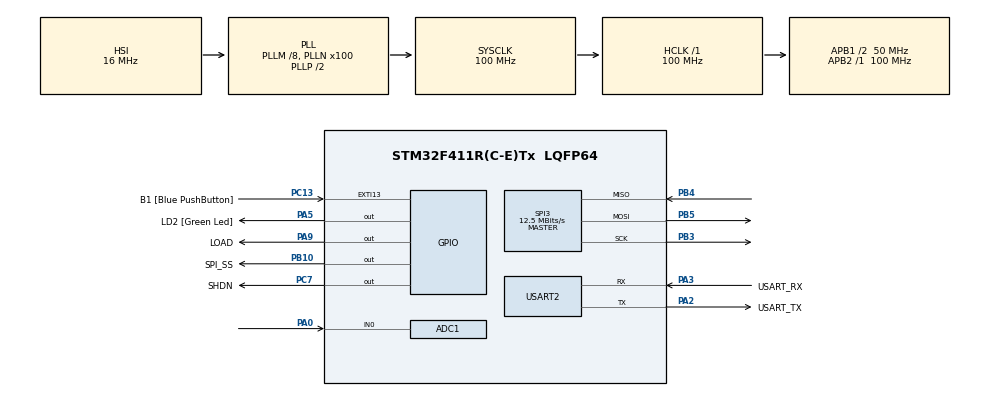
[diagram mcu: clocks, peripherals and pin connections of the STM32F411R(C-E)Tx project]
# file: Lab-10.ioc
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ADC1.Channel-0\#ChannelRegularConversion=ADC_CHANNEL_0
ADC1.DMAContinuousRequests=ENABLE
ADC1.EOCSelection=ADC_EOC_SEQ_CONV
ADC1.ExternalTrigConv=ADC_EXTERNALTRIGCONV_T3_TRGO
ADC1.NbrOfConversionFlag=1
ADC1.Rank-0\#ChannelRegularConversion=1
ADC1.SamplingTime-0\#ChannelRegularConversion=ADC_SAMPLETIME_3CYCLES
ADC1.ScanConvMode=ENABLE
ADC1.master=1
Dma.ADC1.0.Direction=DMA_PERIPH_TO_MEMORY
Dma.ADC1.0.FIFOMode=DMA_FIFOMODE_DISABLE
Dma.ADC1.0.Instance=DMA2_Stream0
Dma.ADC1.0.MemDataAlignment=DMA_MDATAALIGN_HALFWORD
Dma.ADC1.0.MemInc=DMA_MINC_ENABLE
Dma.ADC1.0.Mode=DMA_CIRCULAR
Dma.ADC1.0.PeriphDataAlignment=DMA_PDATAALIGN_HALFWORD
Dma.ADC1.0.PeriphInc=DMA_PINC_DISABLE
Dma.ADC1.0.Priority=DMA_PRIORITY_LOW
Dma.Request0=ADC1
Mcu.Family=STM32F4
Mcu.Name=STM32F411R(C-E)Tx
Mcu.Package=LQFP64
NVIC.ADC_IRQn=true\:0\:0\:false\:false\:true\:true\:true
NVIC.DMA2_Stream0_IRQn=true\:0\:0\:false\:false\:true\:false\:true
NVIC.PriorityGroup=NVIC_PRIORITYGROUP_0
NVIC.SPI3_IRQn=true\:0\:0\:false\:false\:true\:true\:true
NVIC.USART2_IRQn=true\:0\:0\:false\:false\:true\:true\:true
PA0-WKUP.Signal=ADCx_IN0
PA13.GPIO_Label=TMS
PA13.Mode=Serial_Wire
PA13.Signal=SYS_JTMS-SWDIO
PA14.GPIO_Label=TCK
PA14.Mode=Serial_Wire
PA14.Signal=SYS_JTCK-SWCLK
PA2.GPIO_Label=USART_TX
PA2.Mode=Asynchronous
PA2.Signal=USART2_TX
PA3.GPIO_Label=USART_RX
PA3.Mode=Asynchronous
PA3.Signal=USART2_RX
PA5.GPIO_Label=LD2 [Green Led]
PA5.Signal=GPIO_Output
PA9.GPIO_Label=LOAD
PA9.PinState=GPIO_PIN_SET
PA9.Signal=GPIO_Output
PB10.GPIO_Label=SPI_SS
PB10.PinState=GPIO_PIN_SET
PB10.Signal=GPIO_Output
PB3.Mode=Full_Duplex_Master
PB3.Signal=SPI3_SCK
PB4.Mode=Full_Duplex_Master
PB4.Signal=SPI3_MISO
PB5.Mode=Full_Duplex_Master
PB5.Signal=SPI3_MOSI
PC13-ANTI_TAMP.GPIO_Label=B1 [Blue PushButton]
PC13-ANTI_TAMP.GPIO_ModeDefaultEXTI=GPIO_MODE_IT_FALLING
PC13-ANTI_TAMP.Signal=GPXTI13
PC14-OSC32_IN.Mode=LSE-External-Oscillator
PC14-OSC32_IN.Signal=RCC_OSC32_IN
PC15-OSC32_OUT.Mode=LSE-External-Oscillator
PC15-OSC32_OUT.Signal=RCC_OSC32_OUT
PC7.GPIO_Label=SHDN
PC7.PinState=GPIO_PIN_SET
PC7.Signal=GPIO_Output
PH0\ -\ OSC_IN.Mode=HSE-External-Clock-Source
PH0\ -\ OSC_IN.Signal=RCC_OSC_IN
PH1\ -\ OSC_OUT.Mode=HSE-External-Clock-Source
PH1\ -\ OSC_OUT.Signal=RCC_OSC_OUT
ProjectManager.HeapSize=0x200
ProjectManager.StackSize=0x400
ProjectManager.TargetToolchain=STM32CubeIDE
RCC.48MHZClocksFreq_Value=50000000
RCC.AHBFreq_Value=100000000
RCC.APB1CLKDivider=RCC_HCLK_DIV2
RCC.APB1Freq_Value=50000000
RCC.APB1TimFreq_Value=100000000
RCC.APB2Freq_Value=100000000
RCC.APB2TimFreq_Value=100000000
RCC.CortexFreq_Value=100000000
RCC.FLatency-AdvancedSettings=FLASH_LATENCY_3
RCC.HCLKFreq_Value=100000000
RCC.HSE_VALUE=8000000
RCC.HSI_VALUE=16000000
RCC.PLLM=8
RCC.PLLN=100
RCC.SYSCLKFreq_VALUE=100000000
RCC.SYSCLKSource=RCC_SYSCLKSOURCE_PLLCLK
RCC.VCOOutputFreq_Value=200000000
SH.ADCx_IN0.0=ADC1_IN0,IN0
SPI3.BaudRatePrescaler=SPI_BAUDRATEPRESCALER_4
SPI3.CalculateBaudRate=12.5 MBits/s
SPI3.DataSize=SPI_DATASIZE_16BIT
SPI3.Direction=SPI_DIRECTION_2LINES
SPI3.Mode=SPI_MODE_MASTER
SPI3.VirtualType=VM_MASTER
TIM11.Prescaler=99
TIM3.Period=100
TIM3.Prescaler=99
TIM3.TIM_MasterOutputTrigger=TIM_TRGO_UPDATE
USART2.VirtualMode=VM_ASYNC
VP_TIM11_VS_ClockSourceINT.Mode=Enable_Timer
VP_TIM3_VS_ClockSourceINT.Mode=Internal
board=NUCLEO-F411RE

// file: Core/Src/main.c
/* USER CODE BEGIN Header */
/**
  ******************************************************************************
  * @file           : main.c
  * @brief          : Main program body
  ******************************************************************************
  * @attention
  *
  * <h2><center>&copy; Copyright (c) 2021 STMicroelectronics.
  * All rights reserved.</center></h2>
  *
  * This software component is licensed by ST under BSD 3-Clause license,
  * the "License"; You may not use this file except in compliance with the
  * License. You may obtain a copy of the License at:
  *                        opensource.org/licenses/BSD-3-Clause
  *
  ******************************************************************************
  */
/* USER CODE END Header */
#include "main.h"

/* USER CODE BEGIN Includes */
#include <stdio.h>
#include <string.h>
#include <math.h>
/* USER CODE END Includes */

ADC_HandleTypeDef hadc1;
DMA_HandleTypeDef hdma_adc1;

SPI_HandleTypeDef hspi3;

TIM_HandleTypeDef htim3;
TIM_HandleTypeDef htim11;

UART_HandleTypeDef huart2;

/* USER CODE BEGIN PV */
uint16_t ADCin 		= 0;
uint64_t _micro 	= 0;
uint16_t dataOut 	= 0;
uint8_t DACConfig 	= 0b0011;

char TxDataBuffer[32]    = { 0 };
char RxDataBuffer[32]    = { 0 };

uint8_t  wave		= 0;

uint8_t  Vrefx10    = 33;
uint8_t  Vmax[4] 	= {0,33,33,33};
uint8_t  Vmin[4] 	= {0};
uint16_t ADCmax[4]	= {0,4096,4096,4096};
uint16_t ADCmin[4] 	= {0};

uint8_t  freqx10[4]	= {0,10,10,10};
uint64_t period 	= 0;
uint64_t timestamp  = 0;

char slope[5] = "UP";
float degree  = 0.000;
uint16_t Amplitude	= 2048;
uint16_t Shift	    = 2048;
uint16_t DutyCycle	= 50;
uint16_t Cycle	    = 0;

typedef enum
{
	Main_Menu_Print,
	Main_Menu_Select,
	Menu_1_Print,
	Menu_1_Select,
	Menu_2_Print,
	Menu_2_Select,
	Menu_3_Print,
	Menu_3_Select,

}Transition_State;

/* USER CODE END PV */

void SystemClock_Config(void);
static void MX_GPIO_Init(void);
static void MX_DMA_Init(void);
static void MX_USART2_UART_Init(void);
static void MX_ADC1_Init(void);
static void MX_SPI3_Init(void);
static void MX_TIM3_Init(void);
static void MX_TIM11_Init(void);
/* USER CODE BEGIN PFP */
void MCP4922SetOutput(uint8_t Config, uint16_t DACOutput);
uint64_t micros();
int16_t UARTRecieveIT();
/* USER CODE END PFP */

int main(void)
{

  /* MCU Configuration--------------------------------------------------------*/

  /* Reset of all peripherals, Initializes the Flash interface and the Systick. */
  HAL_Init();

  /* Configure the system clock */
  SystemClock_Config();

  /* Initialize all configured peripherals */
  MX_GPIO_Init();
  MX_DMA_Init();
  MX_USART2_UART_Init();
  MX_ADC1_Init();
  MX_SPI3_Init();
  MX_TIM3_Init();
  MX_TIM11_Init();
  /* USER CODE BEGIN 2 */
  HAL_TIM_Base_Start(&htim3);
  HAL_TIM_Base_Start_IT(&htim11);
  HAL_ADC_Start_DMA(&hadc1, (uint32_t*) &ADCin, 1);
  HAL_GPIO_WritePin(LOAD_GPIO_Port, LOAD_Pin, GPIO_PIN_RESET);

   {
 	  char temp[]="\n\n\r!!! GET STARTED !!!\n\r";
 	  HAL_UART_Transmit(&huart2, (uint8_t*)temp, strlen(temp),100);
   }

  /* USER CODE END 2 */

  /* Infinite loop */
  /* USER CODE BEGIN WHILE */
  while (1)
  {
	  if(freqx10[wave] == 0 || period == 0)
	  {
		  dataOut = ADCmax[wave]*999/1000;
		  if (hspi3.State == HAL_SPI_STATE_READY
			  && HAL_GPIO_ReadPin(SPI_SS_GPIO_Port, SPI_SS_Pin) == GPIO_PIN_SET)
				{
					MCP4922SetOutput(DACConfig, dataOut);
				}

	  }
	  else
	  {
		  switch(wave)
		  {
		  	  case 0 :  // NO Wave
		  		dataOut = 0;
				 if (hspi3.State == HAL_SPI_STATE_READY
					  && HAL_GPIO_ReadPin(SPI_SS_GPIO_Port, SPI_SS_Pin) == GPIO_PIN_SET)
						{
							MCP4922SetOutput(DACConfig, dataOut);
						}
		  		  break;

			  case 1 :  // SAWTOOTH Wave
				  switch(slope[0])
				  {
					  case 'U' :  // UP
						if (micros() - timestamp > period)
						{
							timestamp = micros();

							if(dataOut >= ADCmax[1])
							{
								dataOut = ADCmin[1];
							}
							else
							{
								dataOut++;
							}
							if (hspi3.State == HAL_SPI_STATE_READY
								&& HAL_GPIO_ReadPin(SPI_SS_GPIO_Port, SPI_SS_Pin) == GPIO_PIN_SET)
							{
								MCP4922SetOutput(DACConfig, dataOut);
							}
						}
						break;
					  case 'D' :  //DOWN
						if (micros() - timestamp > period)
						{
							timestamp = micros();

							if(dataOut <= ADCmin[1])
							{
								dataOut = ADCmax[1];
							}
							else
							{
								dataOut--;
							}
							if (hspi3.State == HAL_SPI_STATE_READY
								&& HAL_GPIO_ReadPin(SPI_SS_GPIO_Port, SPI_SS_Pin) == GPIO_PIN_SET)
							{
								MCP4922SetOutput(DACConfig, dataOut);
							}
						}
						break;
					  default:
						  break;
				  }
				  break;

			  case 2 :  // SINE Wave
				  if (micros() - timestamp > period)
				  {
						timestamp = micros();

						if(degree >= 6.29)  //2PI
						{
							degree = 0;
						}
						else
						{
							degree += 0.01;
						}
						dataOut = ( sin(degree)*Amplitude ) + Shift;

						if (hspi3.State == HAL_SPI_STATE_READY
							&& HAL_GPIO_ReadPin(SPI_SS_GPIO_Port, SPI_SS_Pin) == GPIO_PIN_SET)
						{
							MCP4922SetOutput(DACConfig, dataOut);
						}
				  }
				  break;

			  case 3 :  // SQUARE Wave
				  if (micros() - timestamp > period)
				  {
						timestamp = micros();

						if(Cycle >= 100)  //100%
						{
							Cycle = 0;
						}
						else
						{
							Cycle += 1;
						}

						if(DutyCycle == 0)
						{
							dataOut = 0;
						}
						else if(Cycle <= DutyCycle)
						{
							dataOut = ADCmax[3] *999/1000;
						}
						else
						{
							dataOut = ADCmin[3];
						}

						if (hspi3.State == HAL_SPI_STATE_READY
							&& HAL_GPIO_ReadPin(SPI_SS_GPIO_Port, SPI_SS_Pin) == GPIO_PIN_SET)
						{
							MCP4922SetOutput(DACConfig, dataOut);
						}
				  }
				  break;

			  default :
				  break;
		  }

	  }

	  HAL_UART_Receive_IT(&huart2,  (uint8_t*)RxDataBuffer, 32);
	  int16_t inputchar = UARTRecieveIT();

	  static Transition_State State = Main_Menu_Print;

		switch(State)
		{
	//--------------------------------------------------------------------------------------------------------

			case Main_Menu_Print:
				sprintf(TxDataBuffer, "\n--------------------------\n\r");
				HAL_UART_Transmit(&huart2, (uint8_t*)TxDataBuffer, strlen(TxDataBuffer), 100);
				sprintf(TxDataBuffer, "  Choose Your Waveform\n\r");
				HAL_UART_Transmit(&huart2, (uint8_t*)TxDataBuffer, strlen(TxDataBuffer), 100);
				sprintf(TxDataBuffer, "--------------------------\n\r");
				HAL_UART_Transmit(&huart2, (uint8_t*)TxDataBuffer, strlen(TxDataBuffer), 100);
				sprintf(TxDataBuffer, "[1] Sawtooth\n\r");
				HAL_UART_Transmit(&huart2, (uint8_t*)TxDataBuffer, strlen(TxDataBuffer), 100);
				sprintf(TxDataBuffer, "[2] Sine Wave\n\r");
				HAL_UART_Transmit(&huart2, (uint8_t*)TxDataBuffer, strlen(TxDataBuffer), 100);
				sprintf(TxDataBuffer, "[3] Square Wave\n\n\r");
				HAL_UART_Transmit(&huart2, (uint8_t*)TxDataBuffer, strlen(TxDataBuffer), 100);
				State = Main_Menu_Select;
				break;

			case Main_Menu_Select:
				switch(inputchar)
				{
					case -1 :
						break;
					case '1':
						wave = 1;
						period = 1030000/(freqx10[1] * (ADCmax[1] - ADCmin[1]) / 10);
						State = Menu_1_Print;
						break;
					case '2':
						wave = 2;
						Amplitude 	= (ADCmax[2] - ADCmin[2]) / 2;
						Shift  		= (ADCmax[2] + ADCmin[2]) / 2;
						period 		= 1000000 / (freqx10[2]*628/10);
						State = Menu_2_Print;
						break;
					case '3':
						wave = 3;
						period = 1090000 / (freqx10[3]*100/10);
						State = Menu_3_Print;
						break;
					case 'x':
						sprintf(TxDataBuffer, "No More Back\n\r");
						HAL_UART_Transmit(&huart2, (uint8_t*)TxDataBuffer, strlen(TxDataBuffer), 100);
						State = Main_Menu_Print;
						break;
					default:
						sprintf(TxDataBuffer, "\nOnly [1][2][3] Key Available\n\r");
						HAL_UART_Transmit(&huart2, (uint8_t*)TxDataBuffer, strlen(TxDataBuffer), 100);
						State = Main_Menu_Print;
						break;
				}
				break;

	//--------------------------------------------------------------------------------------------------------

			case Menu_1_Print:
				sprintf(TxDataBuffer, "\n----- Sawtooth -----\n\r");
				HAL_UART_Transmit(&huart2, (uint8_t*)TxDataBuffer, strlen(TxDataBuffer), 100);
				sprintf(TxDataBuffer, "V High = %d.%d\t[a] +  [s] -\n\r",Vmax[1]/10, Vmax[1]%10);
				HAL_UART_Transmit(&huart2, (uint8_t*)TxDataBuffer, strlen(TxDataBuffer), 100);
				sprintf(TxDataBuffer, "V Low  = %d.%d\t[d] +  [f] -\n\r",Vmin[1]/10, Vmin[1]%10);
				HAL_UART_Transmit(&huart2, (uint8_t*)TxDataBuffer, strlen(TxDataBuffer), 100);
				sprintf(TxDataBuffer, "Freq   = %d.%d\t[g] +  [h] -\n\r",freqx10[1]/10, freqx10[1]%10);
				HAL_UART_Transmit(&huart2, (uint8_t*)TxDataBuffer, strlen(TxDataBuffer), 100);
				sprintf(TxDataBuffer, "Slope  = %s\t[j]Switch Slope\n\r",slope);
				HAL_UART_Transmit(&huart2, (uint8_t*)TxDataBuffer, strlen(TxDataBuffer), 100);
				sprintf(TxDataBuffer, "----------------[x]Back\n\n\r");
				HAL_UART_Transmit(&huart2, (uint8_t*)TxDataBuffer, strlen(TxDataBuffer), 100);
				State = Menu_1_Select;
				break;

			case Menu_1_Select:
				switch(inputchar)
				{
					case -1 :
						break;
					case 'a':
						if(Vmax[1] == 33)
						{
							sprintf(TxDataBuffer, "\nV High is Max at 3.3\n\r");
							HAL_UART_Transmit(&huart2, (uint8_t*)TxDataBuffer, strlen(TxDataBuffer), 100);
						}
						else
						{
							Vmax[1] 	+= 1;
							ADCmax[1]	+= (4096 / Vrefx10);
							period = 1030000/(freqx10[1] * (ADCmax[1] - ADCmin[1]) / 10);
						}
						State = Menu_1_Print;
						break;
					case 's':
						if(Vmax[1] == Vmin[1])
						{
							sprintf(TxDataBuffer, "\nV High can't Less than V Low\n\r");
							HAL_UART_Transmit(&huart2, (uint8_t*)TxDataBuffer, strlen(TxDataBuffer), 100);
						}
						else
						{
							Vmax[1] 	-= 1;
							ADCmax[1]	-= (4096 / Vrefx10);
							period = 1030000/(freqx10[1] * (ADCmax[1] - ADCmin[1]) / 10);
						}
						State = Menu_1_Print;
						break;
					case 'd':
						if(Vmax[1] == Vmin[1])
						{
							sprintf(TxDataBuffer, "\nV Low can't More than V High\n\r");
							HAL_UART_Transmit(&huart2, (uint8_t*)TxDataBuffer, strlen(TxDataBuffer), 100);
						}
						else
						{
							Vmin[1] += 1;
							ADCmin[1]	+= (4096 / Vrefx10);
							period = 1030000/(freqx10[1] * (ADCmax[1] - ADCmin[1]) / 10);
						}
						State = Menu_1_Print;
						break;
					case 'f':
						if(Vmin[1] == 0)
						{
							sprintf(TxDataBuffer, "\nV Low is Min at 0.0\n\r");
							HAL_UART_Transmit(&huart2, (uint8_t*)TxDataBuffer, strlen(TxDataBuffer), 100);
						}
						else
						{
							Vmin[1] -= 1;
							ADCmin[1]	-= (4096 / Vrefx10);
							period = 1030000/(freqx10[1] * (ADCmax[1] - ADCmin[1]) / 10);
						}
						State = Menu_1_Print;
						break;
					case 'g':
						if(freqx10[1] == 100)
						{
							sprintf(TxDataBuffer, "\nFreq is Max at 10.0 Hz\n\r");
							HAL_UART_Transmit(&huart2, (uint8_t*)TxDataBuffer, strlen(TxDataBuffer), 100);
						}
						else
						{
							freqx10[1] += 1;
							period = 1030000/(freqx10[1] * (ADCmax[1] - ADCmin[1]) / 10);
						}
						State = Menu_1_Print;
						break;
					case 'h':
						if(freqx10[1] == 0)
						{
							sprintf(TxDataBuffer, "\nFreq is Min at 0.0 Hz\n\r");
							HAL_UART_Transmit(&huart2, (uint8_t*)TxDataBuffer, strlen(TxDataBuffer), 100);
						}
						else
						{
							freqx10[1] -= 1;
							period = 1030000/(freqx10[1] * (ADCmax[1] - ADCmin[1]) / 10);
						}
						State = Menu_1_Print;
						break;

					case 'j':
						if(slope[0] == 'U')
						{
							sprintf(slope, "DOWN");
						}
						else
						{
							sprintf(slope, "UP");
						}
						State = Menu_1_Print;
						break;
					case 'x':
						wave = 0;
						State = Main_Menu_Print;
						break;
					default:
						sprintf(TxDataBuffer, "\nThat Key isn't an Option\n\r");
						HAL_UART_Transmit(&huart2, (uint8_t*)TxDataBuffer, strlen(TxDataBuffer), 100);
						State = Menu_1_Print;
						break;
				}
				break;

	//--------------------------------------------------------------------------------------------------------

			case Menu_2_Print:
				sprintf(TxDataBuffer, "\n----- Sine Wave -----\n\r");
				HAL_UART_Transmit(&huart2, (uint8_t*)TxDataBuffer, strlen(TxDataBuffer), 100);
				sprintf(TxDataBuffer, "V High = %d.%d\t[a] +  [s] -\n\r",Vmax[2]/10, Vmax[2]%10);
				HAL_UART_Transmit(&huart2, (uint8_t*)TxDataBuffer, strlen(TxDataBuffer), 100);
				sprintf(TxDataBuffer, "V Low  = %d.%d\t[d] +  [f] -\n\r",Vmin[2]/10, Vmin[2]%10);
				HAL_UART_Transmit(&huart2, (uint8_t*)TxDataBuffer, strlen(TxDataBuffer), 100);
				sprintf(TxDataBuffer, "Freq   = %d.%d\t[g] +  [h] -\n\n\r",freqx10[2]/10, freqx10[2]%10);
				HAL_UART_Transmit(&huart2, (uint8_t*)TxDataBuffer, strlen(TxDataBuffer), 100);
				sprintf(TxDataBuffer, "----------------[x]Back\n\n\r");
				HAL_UART_Transmit(&huart2, (uint8_t*)TxDataBuffer, strlen(TxDataBuffer), 100);
				State = Menu_2_Select;
				break;

			case Menu_2_Select:

				switch(inputchar)
				{
					case -1 :
						break;
					case 'a':
						if(Vmax[2] == 33)
						{
							sprintf(TxDataBuffer, "\nV High is Max at 3.3\n\r");
							HAL_UART_Transmit(&huart2, (uint8_t*)TxDataBuffer, strlen(TxDataBuffer), 100);
						}
						else
						{
							Vmax[2] 	+= 1;
							ADCmax[2]	+= (4096 / Vrefx10);
							Amplitude 	=  (ADCmax[2] - ADCmin[2]) / 2;
							Shift  		=  (ADCmax[2] + ADCmin[2]) / 2;
						}
						State = Menu_2_Print;
						break;
					case 's':
						if(Vmax[2] == Vmin[2])
						{
							sprintf(TxDataBuffer, "\nV High can't Less than V Low\n\r");
							HAL_UART_Transmit(&huart2, (uint8_t*)TxDataBuffer, strlen(TxDataBuffer), 100);
						}
						else
						{
							Vmax[2] 	-= 1;
							ADCmax[2]	-= (4096 / Vrefx10);
							Amplitude 	=  (ADCmax[2] - ADCmin[2]) / 2;
							Shift  		=  (ADCmax[2] + ADCmin[2]) / 2;
						}
						State = Menu_2_Print;
						break;
					case 'd':
						if(Vmax[2] == Vmin[2])
						{
							sprintf(TxDataBuffer, "\nV Low can't More than V High\n\r");
							HAL_UART_Transmit(&huart2, (uint8_t*)TxDataBuffer, strlen(TxDataBuffer), 100);
						}
						else
						{
							Vmin[2] += 1;
							ADCmin[2]	+= (4096 / Vrefx10);
							Amplitude 	=  (ADCmax[2] - ADCmin[2]) / 2;
							Shift  		=  (ADCmax[2] + ADCmin[2]) / 2;
						}
						State = Menu_2_Print;
						break;
					case 'f':
						if(Vmin[2] == 0)
						{
							sprintf(TxDataBuffer, "\nV Low is Min at 0.0\n\r");
							HAL_UART_Transmit(&huart2, (uint8_t*)TxDataBuffer, strlen(TxDataBuffer), 100);
						}
						else
						{
							Vmin[2] -= 1;
							ADCmin[2]	-= (4096 / Vrefx10);
							Amplitude 	=  (ADCmax[2] - ADCmin[2]) / 2;
							Shift  		=  (ADCmax[2] + ADCmin[2]) / 2;
						}
						State = Menu_2_Print;
						break;
					case 'g':
						if(freqx10[2] == 100)
						{
							sprintf(TxDataBuffer, "\nFreq is Max at 10.0 Hz\n\r");
							HAL_UART_Transmit(&huart2, (uint8_t*)TxDataBuffer, strlen(TxDataBuffer), 100);
						}
						else
						{
							freqx10[2] += 1;
							period = 1000000 / (freqx10[2]*628/10);
						}
						State = Menu_2_Print;
						break;
					case 'h':
						if(freqx10[2] == 0)
						{
							sprintf(TxDataBuffer, "\nFreq is Min at 0.0 Hz\n\r");
							HAL_UART_Transmit(&huart2, (uint8_t*)TxDataBuffer, strlen(TxDataBuffer), 100);
						}
						else
						{
							freqx10[2] -= 1;
							period = 1000000 / (freqx10[2]*628/10);
						}
						State = Menu_2_Print;
						break;
					case 'x':
						wave = 0;
						State = Main_Menu_Print;
						break;
					default:
						sprintf(TxDataBuffer, "\nThat Key isn't an Option\n\r");
						HAL_UART_Transmit(&huart2, (uint8_t*)TxDataBuffer, strlen(TxDataBuffer), 100);
						State = Menu_2_Print;
						break;
				}

				break;

	//--------------------------------------------------------------------------------------------------------

			case Menu_3_Print:
				sprintf(TxDataBuffer, "\n----- Square -----\n\r");
				HAL_UART_Transmit(&huart2, (uint8_t*)TxDataBuffer, strlen(TxDataBuffer), 100);
				sprintf(TxDataBuffer, "V High = %d.%d\t[a] +  [s] -\n\r",Vmax[3]/10, Vmax[3]%10);
				HAL_UART_Transmit(&huart2, (uint8_t*)TxDataBuffer, strlen(TxDataBuffer), 100);
				sprintf(TxDataBuffer, "V Low  = %d.%d\t[d] +  [f] -\n\r",Vmin[3]/10, Vmin[3]%10);
				HAL_UART_Transmit(&huart2, (uint8_t*)TxDataBuffer, strlen(TxDataBuffer), 100);
				sprintf(TxDataBuffer, "Freq   = %d.%d\t[g] +  [h] -\n\r",freqx10[3]/10, freqx10[3]%10);
				HAL_UART_Transmit(&huart2, (uint8_t*)TxDataBuffer, strlen(TxDataBuffer), 100);
				sprintf(TxDataBuffer, "Duty   = %d %%\t[j] +  [k] -\n\r",DutyCycle);
				HAL_UART_Transmit(&huart2, (uint8_t*)TxDataBuffer, strlen(TxDataBuffer), 100);
				sprintf(TxDataBuffer, "----------------[x]Back\n\n\r");
				HAL_UART_Transmit(&huart2, (uint8_t*)TxDataBuffer, strlen(TxDataBuffer), 100);
				State = Menu_3_Select;
				break;

			case Menu_3_Select:
				switch(inputchar)
				{
					case -1 :
						break;
					case 'a':
						if(Vmax[3] == 33)
						{
							sprintf(TxDataBuffer, "\nV High is Max at 3.3\n\r");
							HAL_UART_Transmit(&huart2, (uint8_t*)TxDataBuffer, strlen(TxDataBuffer), 100);
						}
						else
						{
							Vmax[3] 	+= 1;
							ADCmax[3]	+= (4096 / Vrefx10);
						}
						State = Menu_3_Print;
						break;
					case 's':
						if(Vmax[3] == Vmin[3])
						{
							sprintf(TxDataBuffer, "\nV High can't Less than V Low\n\r");
							HAL_UART_Transmit(&huart2, (uint8_t*)TxDataBuffer, strlen(TxDataBuffer), 100);
						}
						else
						{
							Vmax[3] 	-= 1;
							ADCmax[3]	-= (4096 / Vrefx10);
						}
						State = Menu_3_Print;
						break;
					case 'd':
						if(Vmax[3] == Vmin[3])
						{
							sprintf(TxDataBuffer, "\nV Low can't More than V High\n\r");
							HAL_UART_Transmit(&huart2, (uint8_t*)TxDataBuffer, strlen(TxDataBuffer), 100);
						}
						else
						{
							Vmin[3] += 1;
							ADCmin[3]	+= (4096 / Vrefx10);
						}
						State = Menu_3_Print;
						break;
					case 'f':
						if(Vmin[3] == 0)
						{
							sprintf(TxDataBuffer, "\nV Low is Min at 0.0\n\r");
							HAL_UART_Transmit(&huart2, (uint8_t*)TxDataBuffer, strlen(TxDataBuffer), 100);
						}
						else
						{
							Vmin[3] -= 1;
							ADCmin[3]	-= (4096 / Vrefx10);
						}
						State = Menu_3_Print;
						break;
					case 'g':
						if(freqx10[3] == 100)
						{
							sprintf(TxDataBuffer, "\nFreq is Max at 10.0 Hz\n\r");
							HAL_UART_Transmit(&huart2, (uint8_t*)TxDataBuffer, strlen(TxDataBuffer), 100);
						}
						else
						{
							freqx10[3] += 1;
							period = 1090000 / (freqx10[3]*100/10);
						}
						State = Menu_3_Print;
						break;
					case 'h':
						if(freqx10[3] == 0)
						{
							sprintf(TxDataBuffer, "\nFreq is Min at 0.0 Hz\n\r");
							HAL_UART_Transmit(&huart2, (uint8_t*)TxDataBuffer, strlen(TxDataBuffer), 100);
						}
						else
						{
							freqx10[3] -= 1;
							period = 1090000 / (freqx10[3]*100/10);
						}
						State = Menu_3_Print;
						break;
					case 'j':
						if(DutyCycle == 100)
						{
							sprintf(TxDataBuffer, "\nDuty Cycle is Max at 100 %%\n\r");
							HAL_UART_Transmit(&huart2, (uint8_t*)TxDataBuffer, strlen(TxDataBuffer), 100);
						}
						else
						{
							DutyCycle += 1;
						}
						State = Menu_3_Print;
						break;
					case 'k':
						if(DutyCycle == 0)
						{
							sprintf(TxDataBuffer, "\nDuty Cycle is Min at 0 %%\n\r");
							HAL_UART_Transmit(&huart2, (uint8_t*)TxDataBuffer, strlen(TxDataBuffer), 100);
						}
						else
						{
							DutyCycle -= 1;
						}
						State = Menu_3_Print;
						break;
					case 'x':
						wave = 0;
						State = Main_Menu_Print;
						break;
					default:
						sprintf(TxDataBuffer, "\nThat Key isn't an Option\n\r");
						HAL_UART_Transmit(&huart2, (uint8_t*)TxDataBuffer, strlen(TxDataBuffer), 100);
						State = Menu_3_Print;
						break;
				}
				break;

	//--------------------------------------------------------------------------------------------------------

			default:
				break;
		}

    /* USER CODE END WHILE */

  }
}

void SystemClock_Config(void)
{
  RCC_OscInitTypeDef RCC_OscInitStruct = {0};
  RCC_ClkInitTypeDef RCC_ClkInitStruct = {0};

  /** Configure the main internal regulator output voltage
  */
  __HAL_RCC_PWR_CLK_ENABLE();
  __HAL_PWR_VOLTAGESCALING_CONFIG(PWR_REGULATOR_VOLTAGE_SCALE1);
  /** Initializes the RCC Oscillators according to the specified parameters
  * in the RCC_OscInitTypeDef structure.
  */
  RCC_OscInitStruct.OscillatorType = RCC_OSCILLATORTYPE_HSI;
  RCC_OscInitStruct.HSIState = RCC_HSI_ON;
  RCC_OscInitStruct.HSICalibrationValue = RCC_HSICALIBRATION_DEFAULT;
  RCC_OscInitStruct.PLL.PLLState = RCC_PLL_ON;
  RCC_OscInitStruct.PLL.PLLSource = RCC_PLLSOURCE_HSI;
  RCC_OscInitStruct.PLL.PLLM = 8;
  RCC_OscInitStruct.PLL.PLLN = 100;
  RCC_OscInitStruct.PLL.PLLP = RCC_PLLP_DIV2;
  RCC_OscInitStruct.PLL.PLLQ = 4;
  if (HAL_RCC_OscConfig(&RCC_OscInitStruct) != HAL_OK)
  {
    Error_Handler();
  }
  /** Initializes the CPU, AHB and APB buses clocks
  */
  RCC_ClkInitStruct.ClockType = RCC_CLOCKTYPE_HCLK|RCC_CLOCKTYPE_SYSCLK
                              |RCC_CLOCKTYPE_PCLK1|RCC_CLOCKTYPE_PCLK2;
  RCC_ClkInitStruct.SYSCLKSource = RCC_SYSCLKSOURCE_PLLCLK;
  RCC_ClkInitStruct.AHBCLKDivider = RCC_SYSCLK_DIV1;
  RCC_ClkInitStruct.APB1CLKDivider = RCC_HCLK_DIV2;
  RCC_ClkInitStruct.APB2CLKDivider = RCC_HCLK_DIV1;

  if (HAL_RCC_ClockConfig(&RCC_ClkInitStruct, FLASH_LATENCY_3) != HAL_OK)
  {
    Error_Handler();
  }
}

static void MX_ADC1_Init(void)
{

  ADC_ChannelConfTypeDef sConfig = {0};

  /** Configure the global features of the ADC (Clock, Resolution, Data Alignment and number of conversion)
  */
  hadc1.Instance = ADC1;
  hadc1.Init.ClockPrescaler = ADC_CLOCK_SYNC_PCLK_DIV4;
  hadc1.Init.Resolution = ADC_RESOLUTION_12B;
  hadc1.Init.ScanConvMode = ENABLE;
  hadc1.Init.ContinuousConvMode = DISABLE;
  hadc1.Init.DiscontinuousConvMode = DISABLE;
  hadc1.Init.ExternalTrigConvEdge = ADC_EXTERNALTRIGCONVEDGE_RISING;
  hadc1.Init.ExternalTrigConv = ADC_EXTERNALTRIGCONV_T3_TRGO;
  hadc1.Init.DataAlign = ADC_DATAALIGN_RIGHT;
  hadc1.Init.NbrOfConversion = 1;
  hadc1.Init.DMAContinuousRequests = ENABLE;
  hadc1.Init.EOCSelection = ADC_EOC_SEQ_CONV;
  if (HAL_ADC_Init(&hadc1) != HAL_OK)
  {
    Error_Handler();
  }
  /** Configure for the selected ADC regular channel its corresponding rank in the sequencer and its sample time.
  */
  sConfig.Channel = ADC_CHANNEL_0;
  sConfig.Rank = 1;
  sConfig.SamplingTime = ADC_SAMPLETIME_3CYCLES;
  if (HAL_ADC_ConfigChannel(&hadc1, &sConfig) != HAL_OK)
  {
    Error_Handler();
  }

}

static void MX_SPI3_Init(void)
{

  /* SPI3 parameter configuration*/
  hspi3.Instance = SPI3;
  hspi3.Init.Mode = SPI_MODE_MASTER;
  hspi3.Init.Direction = SPI_DIRECTION_2LINES;
  hspi3.Init.DataSize = SPI_DATASIZE_16BIT;
  hspi3.Init.CLKPolarity = SPI_POLARITY_LOW;
  hspi3.Init.CLKPhase = SPI_PHASE_1EDGE;
  hspi3.Init.NSS = SPI_NSS_SOFT;
  hspi3.Init.BaudRatePrescaler = SPI_BAUDRATEPRESCALER_4;
  hspi3.Init.FirstBit = SPI_FIRSTBIT_MSB;
  hspi3.Init.TIMode = SPI_TIMODE_DISABLE;
  hspi3.Init.CRCCalculation = SPI_CRCCALCULATION_DISABLE;
  hspi3.Init.CRCPolynomial = 10;
  if (HAL_SPI_Init(&hspi3) != HAL_OK)
  {
    Error_Handler();
  }

}

static void MX_TIM3_Init(void)
{

  TIM_ClockConfigTypeDef sClockSourceConfig = {0};
  TIM_MasterConfigTypeDef sMasterConfig = {0};

  htim3.Instance = TIM3;
  htim3.Init.Prescaler = 99;
  htim3.Init.CounterMode = TIM_COUNTERMODE_UP;
  htim3.Init.Period = 100;
  htim3.Init.ClockDivision = TIM_CLOCKDIVISION_DIV1;
  htim3.Init.AutoReloadPreload = TIM_AUTORELOAD_PRELOAD_DISABLE;
  if (HAL_TIM_Base_Init(&htim3) != HAL_OK)
  {
    Error_Handler();
  }
  sClockSourceConfig.ClockSource = TIM_CLOCKSOURCE_INTERNAL;
  if (HAL_TIM_ConfigClockSource(&htim3, &sClockSourceConfig) != HAL_OK)
  {
    Error_Handler();
  }
  sMasterConfig.MasterOutputTrigger = TIM_TRGO_UPDATE;
  sMasterConfig.MasterSlaveMode = TIM_MASTERSLAVEMODE_DISABLE;
  if (HAL_TIMEx_MasterConfigSynchronization(&htim3, &sMasterConfig) != HAL_OK)
  {
    Error_Handler();
  }

}

static void MX_TIM11_Init(void)
{

  htim11.Instance = TIM11;
  htim11.Init.Prescaler = 99;
  htim11.Init.CounterMode = TIM_COUNTERMODE_UP;
  htim11.Init.Period = 65535;
  htim11.Init.ClockDivision = TIM_CLOCKDIVISION_DIV1;
  htim11.Init.AutoReloadPreload = TIM_AUTORELOAD_PRELOAD_DISABLE;
  if (HAL_TIM_Base_Init(&htim11) != HAL_OK)
  {
    Error_Handler();
  }

}

static void MX_USART2_UART_Init(void)
{

  huart2.Instance = USART2;
  huart2.Init.BaudRate = 115200;
  huart2.Init.WordLength = UART_WORDLENGTH_8B;
  huart2.Init.StopBits = UART_STOPBITS_1;
  huart2.Init.Parity = UART_PARITY_NONE;
  huart2.Init.Mode = UART_MODE_TX_RX;
  huart2.Init.HwFlowCtl = UART_HWCONTROL_NONE;
  huart2.Init.OverSampling = UART_OVERSAMPLING_16;
  if (HAL_UART_Init(&huart2) != HAL_OK)
  {
    Error_Handler();
  }

}

static void MX_DMA_Init(void)
{

  /* DMA controller clock enable */
  __HAL_RCC_DMA2_CLK_ENABLE();

  /* DMA interrupt init */
  /* DMA2_Stream0_IRQn interrupt configuration */
  HAL_NVIC_SetPriority(DMA2_Stream0_IRQn, 0, 0);
  HAL_NVIC_EnableIRQ(DMA2_Stream0_IRQn);

}

static void MX_GPIO_Init(void)
{
  GPIO_InitTypeDef GPIO_InitStruct = {0};

  /* GPIO Ports Clock Enable */
  __HAL_RCC_GPIOC_CLK_ENABLE();
  __HAL_RCC_GPIOH_CLK_ENABLE();
  __HAL_RCC_GPIOA_CLK_ENABLE();
  __HAL_RCC_GPIOB_CLK_ENABLE();

  /*Configure GPIO pin Output Level */
  HAL_GPIO_WritePin(LD2_GPIO_Port, LD2_Pin, GPIO_PIN_RESET);

  /*Configure GPIO pin Output Level */
  HAL_GPIO_WritePin(SPI_SS_GPIO_Port, SPI_SS_Pin, GPIO_PIN_SET);

  /*Configure GPIO pin Output Level */
  HAL_GPIO_WritePin(SHDN_GPIO_Port, SHDN_Pin, GPIO_PIN_SET);

  /*Configure GPIO pin Output Level */
  HAL_GPIO_WritePin(LOAD_GPIO_Port, LOAD_Pin, GPIO_PIN_SET);

  /*Configure GPIO pin : B1_Pin */
  GPIO_InitStruct.Pin = B1_Pin;
  GPIO_InitStruct.Mode = GPIO_MODE_IT_FALLING;
  GPIO_InitStruct.Pull = GPIO_NOPULL;
  HAL_GPIO_Init(B1_GPIO_Port, &GPIO_InitStruct);

  /*Configure GPIO pins : LD2_Pin LOAD_Pin */
  GPIO_InitStruct.Pin = LD2_Pin|LOAD_Pin;
  GPIO_InitStruct.Mode = GPIO_MODE_OUTPUT_PP;
  GPIO_InitStruct.Pull = GPIO_NOPULL;
  GPIO_InitStruct.Speed = GPIO_SPEED_FREQ_LOW;
  HAL_GPIO_Init(GPIOA, &GPIO_InitStruct);

  /*Configure GPIO pin : SPI_SS_Pin */
  GPIO_InitStruct.Pin = SPI_SS_Pin;
  GPIO_InitStruct.Mode = GPIO_MODE_OUTPUT_PP;
  GPIO_InitStruct.Pull = GPIO_NOPULL;
  GPIO_InitStruct.Speed = GPIO_SPEED_FREQ_LOW;
  HAL_GPIO_Init(SPI_SS_GPIO_Port, &GPIO_InitStruct);

  /*Configure GPIO pin : SHDN_Pin */
  GPIO_InitStruct.Pin = SHDN_Pin;
  GPIO_InitStruct.Mode = GPIO_MODE_OUTPUT_PP;
  GPIO_InitStruct.Pull = GPIO_NOPULL;
  GPIO_InitStruct.Speed = GPIO_SPEED_FREQ_LOW;
  HAL_GPIO_Init(SHDN_GPIO_Port, &GPIO_InitStruct);

}

/* USER CODE BEGIN 4 */
void MCP4922SetOutput(uint8_t Config, uint16_t DACOutput)
{
	uint32_t OutputPacket = (DACOutput & 0x0fff) | ((Config & 0xf) << 12);
	HAL_GPIO_WritePin(SPI_SS_GPIO_Port, SPI_SS_Pin, GPIO_PIN_RESET);
	HAL_SPI_Transmit_IT(&hspi3, &OutputPacket, 1);
}

void HAL_SPI_TxCpltCallback(SPI_HandleTypeDef *hspi)
{
	if (hspi == &hspi3)
	{
		HAL_GPIO_WritePin(SPI_SS_GPIO_Port, SPI_SS_Pin, GPIO_PIN_SET);
	}
}

void HAL_TIM_PeriodElapsedCallback(TIM_HandleTypeDef *htim)
{
	if (htim == &htim11)
	{
		_micro += 65535;
	}
}

inline uint64_t micros()
{
	return htim11.Instance->CNT + _micro;
}

int16_t UARTRecieveIT()
{
	static uint32_t dataPos =0;
	int16_t data=-1;
	if(huart2.RxXferSize - huart2.RxXferCount!=dataPos)
	{
		data=RxDataBuffer[dataPos];
		dataPos= (dataPos+1)%huart2.RxXferSize;
	}
	return data;
}

/* USER CODE END 4 */

void Error_Handler(void)
{
  __disable_irq();
  while (1)
  {
  }
}

/************************ (C) COPYRIGHT STMicroelectronics *****END OF FILE****/
